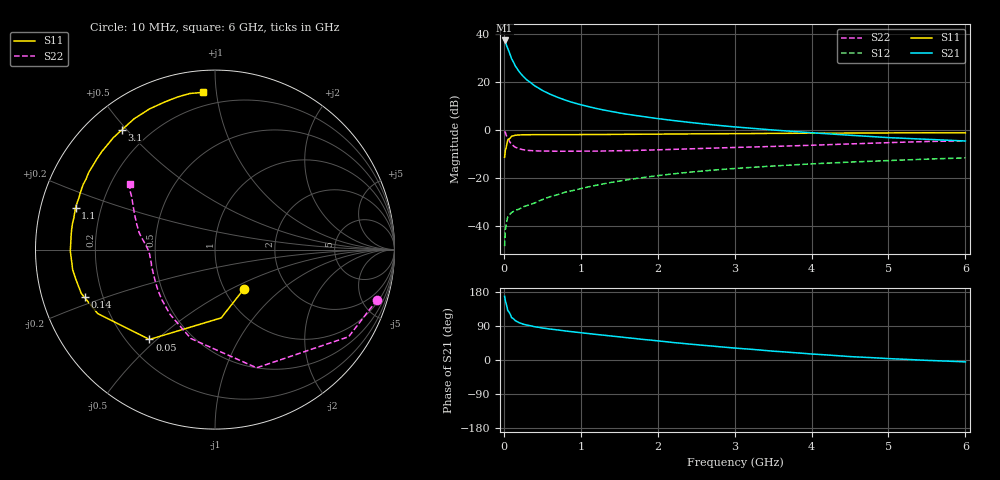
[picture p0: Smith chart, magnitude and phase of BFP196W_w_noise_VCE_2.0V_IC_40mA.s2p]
! Infineon Technologies  Discrete & RF Semiconductors
! BFP196W
! VCE =  2.0 V,  IC =  40 mA
! Common Emitter S-Parameters:  Jan 2017
# GHz  S  MA  R  50
!  f  S11  S21  S12  S22
! GHz  MAG  ANG  MAG  ANG  MAG  ANG  MAG  ANG
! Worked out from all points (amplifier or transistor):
!   77 points, 10 MHz to 6 GHz, reference 50 ohm
!   highest |S21| = 37.4 dB at 10 MHz (marker M1)
!   |S21| within 3 dB of that: start of sweep to 46.07 MHz
!   unconditionally stable (mu >= 1): 687.6 MHz to 3.382 GHz
!   at 130 MHz: K = 0.40, MSG = 30.9 dB, |S12| = -33.8 dB
!   at 2.2 GHz: K = 1.04, MAG = 9.9 dB, |S12| = -18.3 dB
!   at 6 GHz: K = 0.96, MSG = 3.5 dB, |S12| = -11.6 dB
!   lowest NFmin = 1.24 dB at 450 MHz
!   S11 on the Smith chart (normalised r, x): 10 MHz: 1.24, -0.58; 50 MHz: 0.29, -0.47; 140 MHz: 0.13, -0.17; 1.1 GHz: 0.11, +0.15; 3.1 GHz: 0.10, +0.48; 6 GHz: 0.12, +0.92
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0.01  0.2716 -53.1  74.2 168.0  0.0038 76.5  0.9454 -17.2
0.02  0.382 -84.8  69.23 155.8  0.0082 68.5  0.889 -33.1
0.05  0.6196 -126.1  50.65 131.0  0.0154 48.0  0.6982 -70.6
0.1  0.7444 -151.4  30.99 112.2  0.0191 39.8  0.5134 -105.2
0.14  0.7741 -159.9  23.48 105.9  0.0208 38.7  0.4497 -120.3
0.15  0.784 -161.9  21.67 103.7  0.0212 38.5  0.4395 -124.7
0.2  0.7925 -167.8  16.51 98.4  0.0226 41.3  0.4083 -136.1
0.25  0.801 -172.0  13.3 94.7  0.0251 42.9  0.3909 -144.3
0.3  0.8011 -175.0  11.13 92.1  0.0266 44.7  0.3802 -149.8
0.4  0.8063 -179.3  8.408 87.8  0.0302 49.4  0.3701 -157.2
0.5  0.8046 177.1  6.734 84.6  0.0356 52.1  0.3662 -162.0
0.6  0.8053 174.5  5.632 81.7  0.0409 55.6  0.3656 -165.4
0.7  0.8067 171.9  4.825 79.3  0.0451 57.6  0.3626 -168.1
0.9  0.806 167.3  3.75 74.3  0.0552 59.2  0.3635 -171.7
1.1  0.8111 163.3  3.094 69.8  0.0657 60.3  0.3648 -174.6
1.3  0.8109 159.1  2.623 65.4  0.0761 60.3  0.3671 -176.9
1.5  0.8168 155.4  2.287 61.1  0.0865 59.9  0.3721 -179.3
2.1  0.8271 144.2  1.664 48.4  0.1173 55.8  0.3926 174.9
3.1  0.8452 127.9  1.134 30.0  0.1624 47.1  0.4395 165.9
4.1  0.8646 113.6  0.862 14.6  0.2012 38.7  0.4901 156.1
5.1  0.876 102.9  0.687 2.8  0.2351 30.6  0.5544 147.2
6  0.8788 94.5  0.593 -5.0  0.2641 23.6  0.596 142.5
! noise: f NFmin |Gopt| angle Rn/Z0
0.45  1.24  0.48  -179  0.06
0.9  1.39  0.54  -173  0.06
1.9  2.21  0.69  -150  0.14
2.4  2.61  0.73  -145  0.23
